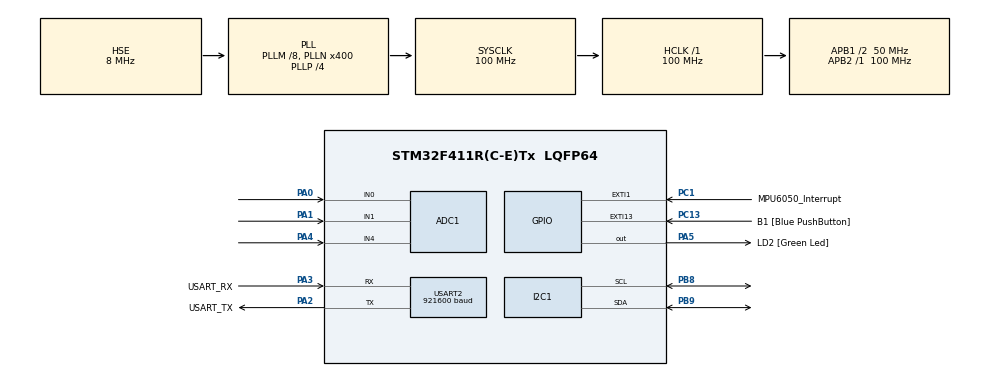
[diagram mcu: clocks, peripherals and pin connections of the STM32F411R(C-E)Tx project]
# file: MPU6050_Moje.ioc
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ADC1.Channel-0\#ChannelRegularConversion=ADC_CHANNEL_0
ADC1.Channel-1\#ChannelRegularConversion=ADC_CHANNEL_1
ADC1.Channel-2\#ChannelRegularConversion=ADC_CHANNEL_4
ADC1.ClockPrescaler=ADC_CLOCK_SYNC_PCLK_DIV4
ADC1.ContinuousConvMode=DISABLE
ADC1.DMAContinuousRequests=ENABLE
ADC1.EOCSelection=ADC_EOC_SEQ_CONV
ADC1.ExternalTrigConv=ADC_SOFTWARE_START
ADC1.NbrOfConversion=3
ADC1.NbrOfConversionFlag=1
ADC1.Rank-0\#ChannelRegularConversion=1
ADC1.Rank-1\#ChannelRegularConversion=2
ADC1.Rank-2\#ChannelRegularConversion=3
ADC1.SamplingTime-0\#ChannelRegularConversion=ADC_SAMPLETIME_480CYCLES
ADC1.SamplingTime-1\#ChannelRegularConversion=ADC_SAMPLETIME_480CYCLES
ADC1.SamplingTime-2\#ChannelRegularConversion=ADC_SAMPLETIME_480CYCLES
ADC1.ScanConvMode=ENABLE
ADC1.master=1
Dma.ADC1.2.Direction=DMA_PERIPH_TO_MEMORY
Dma.ADC1.2.FIFOMode=DMA_FIFOMODE_DISABLE
Dma.ADC1.2.Instance=DMA2_Stream0
Dma.ADC1.2.MemDataAlignment=DMA_MDATAALIGN_HALFWORD
Dma.ADC1.2.MemInc=DMA_MINC_ENABLE
Dma.ADC1.2.Mode=DMA_NORMAL
Dma.ADC1.2.PeriphDataAlignment=DMA_PDATAALIGN_HALFWORD
Dma.ADC1.2.PeriphInc=DMA_PINC_DISABLE
Dma.ADC1.2.Priority=DMA_PRIORITY_LOW
Dma.Request0=USART2_TX
Dma.Request1=USART2_RX
Dma.Request2=ADC1
Dma.USART2_RX.1.Direction=DMA_PERIPH_TO_MEMORY
Dma.USART2_RX.1.FIFOMode=DMA_FIFOMODE_DISABLE
Dma.USART2_RX.1.Instance=DMA1_Stream5
Dma.USART2_RX.1.MemDataAlignment=DMA_MDATAALIGN_BYTE
Dma.USART2_RX.1.MemInc=DMA_MINC_ENABLE
Dma.USART2_RX.1.Mode=DMA_NORMAL
Dma.USART2_RX.1.PeriphDataAlignment=DMA_PDATAALIGN_BYTE
Dma.USART2_RX.1.PeriphInc=DMA_PINC_DISABLE
Dma.USART2_RX.1.Priority=DMA_PRIORITY_LOW
Dma.USART2_TX.0.Direction=DMA_MEMORY_TO_PERIPH
Dma.USART2_TX.0.FIFOMode=DMA_FIFOMODE_DISABLE
Dma.USART2_TX.0.Instance=DMA1_Stream6
Dma.USART2_TX.0.MemDataAlignment=DMA_MDATAALIGN_BYTE
Dma.USART2_TX.0.MemInc=DMA_MINC_ENABLE
Dma.USART2_TX.0.Mode=DMA_NORMAL
Dma.USART2_TX.0.PeriphDataAlignment=DMA_PDATAALIGN_BYTE
Dma.USART2_TX.0.PeriphInc=DMA_PINC_DISABLE
Dma.USART2_TX.0.Priority=DMA_PRIORITY_LOW
I2C1.DutyCycle=I2C_DUTYCYCLE_2
I2C1.I2C_Mode=I2C_Fast
Mcu.Family=STM32F4
Mcu.Name=STM32F411R(C-E)Tx
Mcu.Package=LQFP64
NVIC.ADC_IRQn=true\:0\:0\:false\:false\:true\:true\:true\:true
NVIC.DMA1_Stream5_IRQn=true\:0\:0\:false\:false\:true\:false\:true\:true
NVIC.DMA1_Stream6_IRQn=true\:0\:0\:false\:false\:true\:false\:true\:true
NVIC.DMA2_Stream0_IRQn=true\:0\:0\:false\:false\:true\:false\:true\:true
NVIC.EXTI1_IRQn=true\:0\:0\:false\:false\:true\:true\:true\:true
NVIC.PriorityGroup=NVIC_PRIORITYGROUP_0
NVIC.TIM1_UP_TIM10_IRQn=true\:0\:0\:false\:false\:true\:true\:true\:true
NVIC.TIM3_IRQn=true\:0\:0\:false\:false\:true\:true\:true\:true
NVIC.USART2_IRQn=true\:0\:0\:false\:false\:true\:true\:true\:true
PA0-WKUP.Signal=ADCx_IN0
PA1.Signal=ADCx_IN1
PA13.GPIO_Label=TMS
PA13.Mode=Serial_Wire
PA13.Signal=SYS_JTMS-SWDIO
PA14.GPIO_Label=TCK
PA14.Mode=Serial_Wire
PA14.Signal=SYS_JTCK-SWCLK
PA2.GPIO_Label=USART_TX
PA2.Mode=Asynchronous
PA2.Signal=USART2_TX
PA3.GPIO_Label=USART_RX
PA3.Mode=Asynchronous
PA3.Signal=USART2_RX
PA4.Signal=ADCx_IN4
PA5.GPIO_Label=LD2 [Green Led]
PA5.Signal=GPIO_Output
PB3.GPIO_Label=SWO
PB3.Signal=SYS_JTDO-SWO
PB8.GPIO_Pu=GPIO_PULLUP
PB8.Mode=I2C
PB8.Signal=I2C1_SCL
PB9.GPIO_Pu=GPIO_PULLUP
PB9.Mode=I2C
PB9.Signal=I2C1_SDA
PC1.GPIO_Label=MPU6050_Interrupt
PC1.GPIO_ModeDefaultEXTI=GPIO_MODE_IT_RISING
PC1.Signal=GPXTI1
PC13-ANTI_TAMP.GPIO_Label=B1 [Blue PushButton]
PC13-ANTI_TAMP.GPIO_ModeDefaultEXTI=GPIO_MODE_IT_FALLING
PC13-ANTI_TAMP.Signal=GPXTI13
PC14-OSC32_IN.Mode=LSE-External-Oscillator
PC14-OSC32_IN.Signal=RCC_OSC32_IN
PC15-OSC32_OUT.Mode=LSE-External-Oscillator
PC15-OSC32_OUT.Signal=RCC_OSC32_OUT
PH0\ -\ OSC_IN.Mode=HSE-External-Clock-Source
PH0\ -\ OSC_IN.Signal=RCC_OSC_IN
PH1\ -\ OSC_OUT.Mode=HSE-External-Clock-Source
PH1\ -\ OSC_OUT.Signal=RCC_OSC_OUT
ProjectManager.HeapSize=0x200
ProjectManager.StackSize=0x400
ProjectManager.TargetToolchain=STM32CubeIDE
RCC.48MHZClocksFreq_Value=100000000
RCC.AHBFreq_Value=100000000
RCC.APB1CLKDivider=RCC_HCLK_DIV2
RCC.APB1Freq_Value=50000000
RCC.APB1TimFreq_Value=100000000
RCC.APB2Freq_Value=100000000
RCC.APB2TimFreq_Value=100000000
RCC.CortexFreq_Value=100000000
RCC.FLatency-AdvancedSettings=FLASH_LATENCY_3
RCC.HCLKFreq_Value=100000000
RCC.HSE_VALUE=8000000
RCC.HSI_VALUE=16000000
RCC.PLLM=8
RCC.PLLN=400
RCC.PLLP=RCC_PLLP_DIV4
RCC.PLLSourceVirtual=RCC_PLLSOURCE_HSE
RCC.SYSCLKFreq_VALUE=100000000
RCC.SYSCLKSource=RCC_SYSCLKSOURCE_PLLCLK
RCC.VCOOutputFreq_Value=400000000
SH.ADCx_IN0.0=ADC1_IN0,IN0
SH.ADCx_IN1.0=ADC1_IN1,IN1
SH.ADCx_IN4.0=ADC1_IN4,IN4
TIM10.AutoReloadPreload=TIM_AUTORELOAD_PRELOAD_ENABLE
TIM10.Period=10000-1
TIM10.Prescaler=20
TIM3.AutoReloadPreload=TIM_AUTORELOAD_PRELOAD_ENABLE
TIM3.Period=20-1
TIM3.Prescaler=10000-1
TIM3.TIM_MasterOutputTrigger=TIM_TRGO_UPDATE
USART2.BaudRate=921600
USART2.VirtualMode=VM_ASYNC
USART2.WordLength=WORDLENGTH_8B
VP_TIM10_VS_ClockSourceINT.Mode=Enable_Timer
VP_TIM3_VS_ClockSourceINT.Mode=Internal
board=NUCLEO-F411RE

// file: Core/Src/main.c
/* USER CODE BEGIN Header */
/**
  ******************************************************************************
  * @file           : main.c
  * @brief          : Main program body
  ******************************************************************************
  * @attention
  *
  * Copyright (c) 2023 STMicroelectronics.
  * All rights reserved.
  *
  * This software is licensed under terms that can be found in the LICENSE file
  * in the root directory of this software component.
  * If no LICENSE file comes with this software, it is provided AS-IS.
  *
  ******************************************************************************
  */
/* USER CODE END Header */
#include "main.h"
#include "adc.h"
#include "dma.h"
#include "i2c.h"
#include "tim.h"
#include "usart.h"
#include "gpio.h"

/* USER CODE BEGIN Includes */
#include "MPU6050.h"
#include <string.h>
#include <stdio.h>
#include "ACS711EX.h"
/* USER CODE END Includes */

void SystemClock_Config(void);

/* USER CODE BEGIN 0 */

uint16_t bufforADC[3];
uint16_t bufforCalib[3];

char buffor[70];
char bufforStartStop[1];
volatile uint8_t cmplt = 1;
volatile uint8_t xD = 0;

/* USER CODE END 0 */

int main(void)
{
  /* USER CODE BEGIN 1 */
	MPU6050_Config_TypeDef mpu6050;volatile int SAMPLE = 0 ;
	float accBuffor[3],gyroBuffor[3];uint16_t bufforADC[3];float bufforADCOUput[3];
	//char buffor[100];
	struct Data {

			 int sample;

			 float ax;
			 float ay;
			 float az;
			 float gx;
			 float gy;
			 float gz;
			 float  phasea;
			 float phaseb;
			 float phasec;

	};

  /* USER CODE END 1 */

  /* MCU Configuration--------------------------------------------------------*/

  /* Reset of all peripherals, Initializes the Flash interface and the Systick. */
  HAL_Init();

  /* Configure the system clock */
  SystemClock_Config();

  /* USER CODE BEGIN SysInit */

  mpu6050.ACC_RANGE = MPU6050_ACC_AFS_2G;
  mpu6050.CLOCK = MPU6050_CLOCK_SOURCE_0;
  mpu6050.FILTER = MPU6050_LOW_PASS_FILTER_0;
  mpu6050.GYRO_RANGE = MPU6050_GYRO_FS_500;
  mpu6050.TEMP_ON_OFF = ENABLE;

  /* USER CODE END SysInit */

  /* Initialize all configured peripherals */
  MX_GPIO_Init();
  MX_DMA_Init();
  MX_USART2_UART_Init();
  MX_I2C1_Init();
  MX_TIM3_Init();
  MX_ADC1_Init();
  MX_TIM10_Init();
  /* USER CODE BEGIN 2 */
  HAL_Delay(15);
  MPU6050_Init(&hi2c1, &mpu6050);

  HAL_UART_Receive_DMA(&huart2, (uint8_t*)bufforStartStop, 1);

  //HAL_TIM_Base_Start_IT(&htim3);

  HAL_ADC_Start_DMA(&hadc1, (uint32_t*)bufforCalib, 3);
  HAL_Delay(1);

  HAL_TIM_Base_Start_IT(&htim10);
  /* USER CODE END 2 */

  /* Infinite loop */
  /* USER CODE BEGIN WHILE */

  while (1)
  {

    HAL_GPIO_TogglePin(LD2_GPIO_Port, LD2_Pin);
    HAL_ADC_Start_DMA(&hadc1, (uint32_t*)bufforADC, 3);
    SAMPLE +=1;
    MPU6050_Get_Acc_Value(&hi2c1,&mpu6050,accBuffor);
	MPU6050_Get_Gyro_Value(&hi2c1,&mpu6050,gyroBuffor);

	ACS711EX_Convert_To_mA(bufforADC, bufforADCOUput);

//	struct Data  DataToSend = {
//
//
//
//			.sample = SAMPLE,
//
//			.ax = accBuffor[0],
//			.ay = accBuffor[1],
//			.az = accBuffor[2],
//			.gx = gyroBuffor[0],
//			.gy = gyroBuffor[1],
//			.gz = gyroBuffor[2],
//			.phasea = bufforADCOUput[0],
//			.phaseb = bufforADCOUput[1],
//			.phasec = bufforADCOUput[2],
//
//
//
//	};
//
//	HAL_UART_Transmit(&huart2, (uint8_t*)"S", sizeof("S"), 1);
//	HAL_UART_Transmit(&huart2, (uint8_t*)&DataToSend,sizeof(DataToSend),1000);
//	HAL_UART_Transmit(&huart2, (uint8_t*)"E", sizeof("E"), 1);

	snprintf(buffor,100,"%d;%0.3f;%0.3f;%0.3f;%0.3f;%0.3f;%0.3f;%0.3f;%0.3f;%0.3f\n",SAMPLE,accBuffor[0],accBuffor[1],accBuffor[2],gyroBuffor[0],gyroBuffor[1],gyroBuffor[2],bufforADCOUput[0],bufforADCOUput[1],bufforADCOUput[2]);
	HAL_UART_Transmit(&huart2, (uint8_t*)buffor	,sizeof(buffor),10000);

    /* USER CODE END WHILE */

    /* USER CODE BEGIN 3 */

	//MPU6050_Get_Acc_Value(&hi2c1, &mpu6050, buffor);
  }
  /* USER CODE END 3 */
}

void SystemClock_Config(void)
{
  RCC_OscInitTypeDef RCC_OscInitStruct = {0};
  RCC_ClkInitTypeDef RCC_ClkInitStruct = {0};

  /** Configure the main internal regulator output voltage
  */
  __HAL_RCC_PWR_CLK_ENABLE();
  __HAL_PWR_VOLTAGESCALING_CONFIG(PWR_REGULATOR_VOLTAGE_SCALE1);

  /** Initializes the RCC Oscillators according to the specified parameters
  * in the RCC_OscInitTypeDef structure.
  */
  RCC_OscInitStruct.OscillatorType = RCC_OSCILLATORTYPE_HSE;
  RCC_OscInitStruct.HSEState = RCC_HSE_BYPASS;
  RCC_OscInitStruct.PLL.PLLState = RCC_PLL_ON;
  RCC_OscInitStruct.PLL.PLLSource = RCC_PLLSOURCE_HSE;
  RCC_OscInitStruct.PLL.PLLM = 8;
  RCC_OscInitStruct.PLL.PLLN = 400;
  RCC_OscInitStruct.PLL.PLLP = RCC_PLLP_DIV4;
  RCC_OscInitStruct.PLL.PLLQ = 4;
  if (HAL_RCC_OscConfig(&RCC_OscInitStruct) != HAL_OK)
  {
    Error_Handler();
  }

  /** Initializes the CPU, AHB and APB buses clocks
  */
  RCC_ClkInitStruct.ClockType = RCC_CLOCKTYPE_HCLK|RCC_CLOCKTYPE_SYSCLK
                              |RCC_CLOCKTYPE_PCLK1|RCC_CLOCKTYPE_PCLK2;
  RCC_ClkInitStruct.SYSCLKSource = RCC_SYSCLKSOURCE_PLLCLK;
  RCC_ClkInitStruct.AHBCLKDivider = RCC_SYSCLK_DIV1;
  RCC_ClkInitStruct.APB1CLKDivider = RCC_HCLK_DIV2;
  RCC_ClkInitStruct.APB2CLKDivider = RCC_HCLK_DIV1;

  if (HAL_RCC_ClockConfig(&RCC_ClkInitStruct, FLASH_LATENCY_3) != HAL_OK)
  {
    Error_Handler();
  }
}

/* USER CODE BEGIN 4 */
//void HAL_TIM_PeriodElapsedCallback(TIM_HandleTypeDef *htim)
//
//
//{
//
//	//if(htim==&htim10)
//		///cmplt = 1;
//
//			//HAL_GPIO_TogglePin(LD2_GPIO_Port, LD2_Pin);
//	;
//}
void HAL_UART_TxCpltCallback(UART_HandleTypeDef *huart)
{

	//cmplt = 0;
	//HAL_GPIO_WritePin(LD2_GPIO_Port, LD2_Pin, RESET);
	memset(buffor,0,sizeof(buffor));
    cmplt = 0;
}

void HAL_UART_RxCpltCallback(UART_HandleTypeDef *huart)
{
  if (huart==&huart2)
  {
    if (huart->Instance->DR == 's')
    {
    	HAL_TIM_Base_Start_IT(&htim3);
      HAL_UART_Receive_DMA(&huart2, (uint8_t*)bufforStartStop, 1);
    }
    else if (huart->Instance->DR == 'e')
    {
    	HAL_TIM_Base_Stop_IT(&htim3);
      HAL_UART_Receive_DMA(&huart2, (uint8_t*)bufforStartStop, 1);
    }
  }
}

/* USER CODE END 4 */

void Error_Handler(void)
{
  __disable_irq();
  while (1)
  {
  }
}
